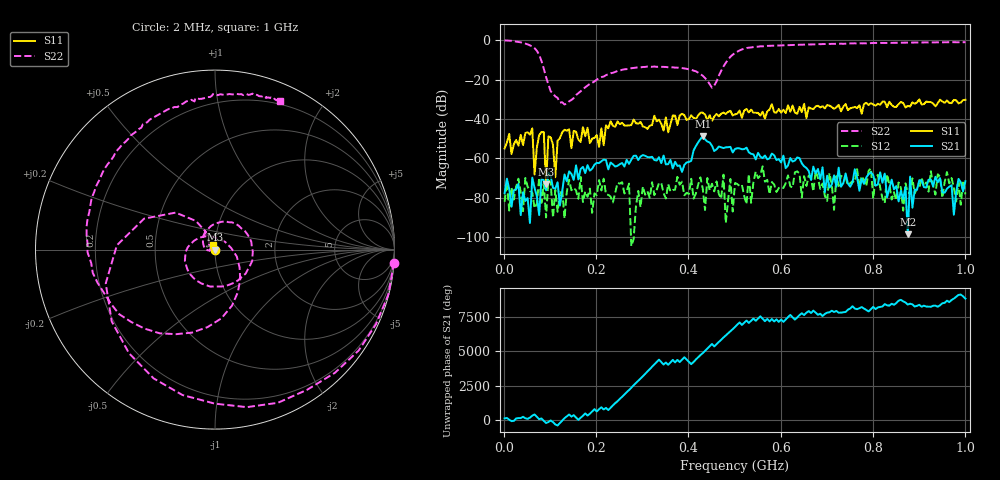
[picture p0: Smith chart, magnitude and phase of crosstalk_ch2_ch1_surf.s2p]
!Keysight Technologies N9923A: A.12.45
!Date: Tuesday, 28 October 2025 04:48:28
!Timezone: (UTC+08:00) Kuala Lumpur, Singapore
!Model: N9923A
!Serial: MY61181427
!GPS Latitude:
!GPS Longitude:
!GPS TimeStamp: 0001-01-01 00:00:00Z
!GPS Seconds Since Last Read: 0
!CHECKSUM:0340904721
!Correction: S11(ON U?)S21(ON U?)S12(ON U?)S22(ON U?)
!S2P File: Measurements:S11,S21,S12,S22:
# Hz S DB R 50
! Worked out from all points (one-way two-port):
!   201 points, 2 MHz to 1 GHz, reference 50 ohm
!   highest |S21| = -48.81 dB at 431.1 MHz (marker M1); lowest = -98.7 dB at 875.2 MHz (marker M2)
!   lowest |S11| = -73.1 dB at 91.82 MHz (marker M3), VSWR 1.00, Z = 50 - j0.00159 ohm
!   |S11| at or under -10 dB: start of sweep to end of sweep
!   |S22| runs from -32.6 to 0.0 dB; largest |S21 - S12| = 0.0037
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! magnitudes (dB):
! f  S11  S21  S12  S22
! 2 MHz  -55.0  -77.7  -82.2  0.0
! 61.88 MHz  -44.8  -69.8  -77.3  -3.1
! 66.87 MHz  -68.2  -75.0  -85.3  -3.9
! 86.83 MHz  -46.7  -71.1  -73.0  -14.4
! 91.82 MHz  -73.1  -76.3  -90.1  -18.7
! 96.81 MHz  -48.8  -67.3  -71.0  -22.4
! 111.8 MHz  -69.6  -75.5  -76.1  -28.5
! 116.8 MHz  -51.0  -72.2  -87.2  -29.2
! 126.8 MHz  -46.7  -76.8  -75.7  -31.4
! 171.7 MHz  -44.2  -64.4  -82.3  -24.8
! 336.3 MHz  -40.3  -59.5  -72.5  -13.4
! 386.2 MHz  -37.3  -66.9  -71.9  -14.1
! 431.1 MHz  -36.8  -48.8  -75.4  -18.0
! 501 MHz  -37.6  -55.2  -72.6  -6.4
! 670.7 MHz  -34.9  -64.2  -76.9  -2.0
! 675.6 MHz  -33.6  -67.7  -66.3  -2.0
! 695.6 MHz  -34.6  -77.2  -79.1  -1.8
! 725.5 MHz  -32.8  -64.8  -74.1  -1.7
! 835.3 MHz  -31.2  -75.2  -73.2  -1.2
! 875.2 MHz  -33.3  -98.7  -77.4  -1.2
! 925.1 MHz  -31.3  -70.7  -66.5  -1.0
! 1 GHz  -30.2  -71.7  -78.3  -0.9
